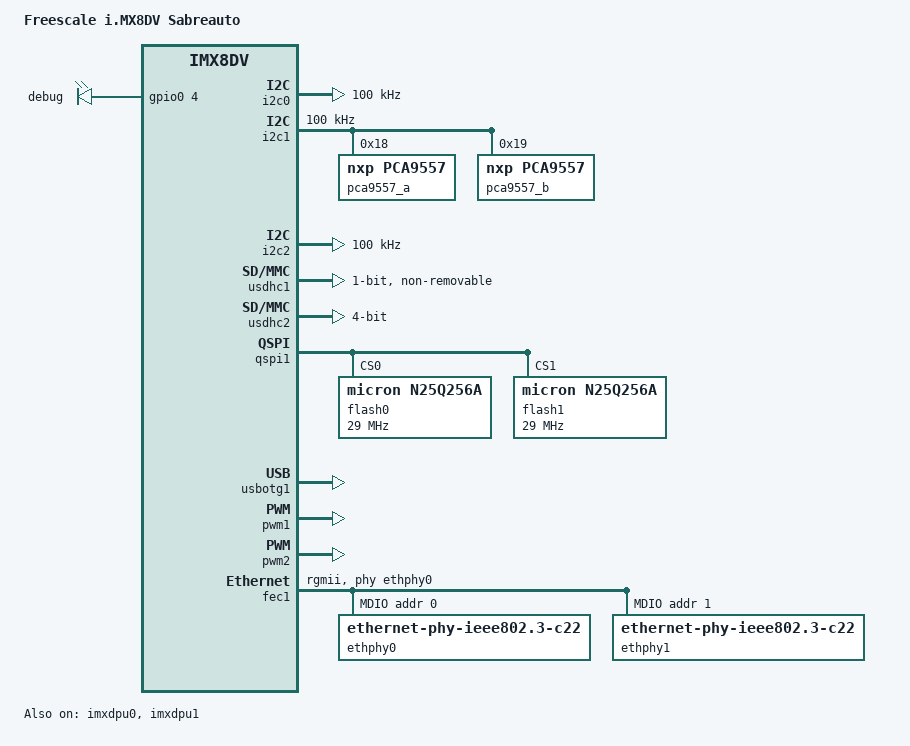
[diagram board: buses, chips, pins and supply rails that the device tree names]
/*
 * Device Tree file for Freescale i.MX8dv sabreauto
 *
 * Copyright (C) 2016, Freescale Semiconductor Inc
 *
 *
 * This file is dual-licensed: you can use it either under the terms
 * of the GPL or the X11 license, at your option. Note that this dual
 * licensing only applies to this file, and not this project as a
 * whole.
 *
 *  a) This library is free software; you can redistribute it and/or
 *     modify it under the terms of the GNU General Public License as
 *     published by the Free Software Foundation; either version 2 of the
 *     License, or (at your option) any later version.
 *
 *     This library is distributed in the hope that it will be useful,
 *     but WITHOUT ANY WARRANTY; without even the implied warranty of
 *     MERCHANTABILITY or FITNESS FOR A PARTICULAR PURPOSE.  See the
 *     GNU General Public License for more details.
 *
 *     You should have received a copy of the GNU General Public
 *     License along with this library; if not, write to the Free
 *     Software Foundation, Inc., 51 Franklin St, Fifth Floor, Boston,
 *     MA 02110-1301 USA
 *
 * Or, alternatively,
 *
 *  b) Permission is hereby granted, free of charge, to any person
 *     obtaining a copy of this software and associated documentation
 *     files (the "Software"), to deal in the Software without
 *     restriction, including without limitation the rights to use,
 *     copy, modify, merge, publish, distribute, sublicense, and/or
 *     sell copies of the Software, and to permit persons to whom the
 *     Software is furnished to do so, subject to the following
 *     conditions:
 *
 *     The above copyright notice and this permission notice shall be
 *     included in all copies or substantial portions of the Software.
 *
 *     THE SOFTWARE IS PROVIDED "AS IS", WITHOUT WARRANTY OF ANY KIND,
 *     EXPRESS OR IMPLIED, INCLUDING BUT NOT LIMITED TO THE WARRANTIES
 *     OF MERCHANTABILITY, FITNESS FOR A PARTICULAR PURPOSE AND
 *     NONINFRINGEMENT. IN NO EVENT SHALL THE AUTHORS OR COPYRIGHT
 *     HOLDERS BE LIABLE FOR ANY CLAIM, DAMAGES OR OTHER LIABILITY,
 *     WHETHER IN AN ACTION OF CONTRACT, TORT OR OTHERWISE, ARISING
 *     FROM, OUT OF OR IN CONNECTION WITH THE SOFTWARE OR THE USE OR
 *     OTHER DEALINGS IN THE SOFTWARE.
 */

/dts-v1/;

/* First 4KB has trampoline code for secondary cores. */
/memreserve/ 0x80000000 0x00010000;

#include "fsl-imx8dv.dtsi"

/ {
	model = "Freescale i.MX8DV Sabreauto";
	compatible = "fsl,imx8dv-sabreauto", "fsl,imx8dv";

	chosen {
		bootargs = "console=ttymxc2,115200 earlycon=imxuart,0x5a080000,115200";
		stdout-path = &uart3;
	};

	leds {
		compatible = "gpio-leds";
		pinctrl-names = "default";
		pinctrl-0 = <&pinctrl_gpio_leds>;
		user {
			label = "debug";
			gpios = <&gpio0 4 0>;
			default-state = "on";
		};
	};
};
&framebuffer0 {
	status = "okay";
};
&framebuffer1 {
	status = "okay";
};
&framebuffer2 {
	status = "okay";
};
&framebuffer3 {
	status = "okay";
};
&imxdpu0 {
	status = "okay";
};
&imxdpu1 {
	status = "okay";
};

&i2c0 {
	pinctrl-names = "default";
	pinctrl-0 = <&pinctrl_i2c0>;
	clock-frequency = <100000>;
	status = "okay";
};

&i2c1 {
	#address-cells = <1>;
	#size-cells = <0>;
	pinctrl-names = "default";
	pinctrl-0 = <&pinctrl_i2c1>;
	clock-frequency = <100000>;
	status = "okay";

	pca9557_a: gpio@18 {
		compatible = "nxp,pca9557";
		reg = <0x18>;
		gpio-controller;
	};

	pca9557_b: gpio@19 {
		compatible = "nxp,pca9557";
		reg = <0x19>;
		gpio-controller;
	};
};

&i2c2 {
	pinctrl-names = "default";
	pinctrl-0 = <&pinctrl_i2c2>;
	clock-frequency = <100000>;
	status = "okay";
};

&iomuxc {
	imx8dv-sabreauto {

		pinctrl_usdhc1: usdhc1grp {
			fsl,pins = <
				SC_P_USDHC0_CLK		0x600004c
				SC_P_USDHC0_CMD		0x600004c
				SC_P_USDHC0_DATA0	0x600004c
				SC_P_USDHC0_DATA1	0x600004c
				SC_P_USDHC0_DATA2	0x600004c
				SC_P_USDHC0_DATA3	0x600004c
				SC_P_USDHC0_DATA4	0x600004c
				SC_P_USDHC0_DATA5	0x600004c
				SC_P_USDHC0_DATA6	0x600004c
				SC_P_USDHC0_DATA7	0x600004c
			>;
		};

		pinctrl_qspi: qspi {
			fsl,pins = <
				SC_P_QSPI0A_DATA0	0x600004c
				SC_P_QSPI0A_DATA1	0x600004c
				SC_P_QSPI0A_DATA2	0x600004c
				SC_P_QSPI0A_DATA3	0x600004c
				SC_P_QSPI0A_DQS		0x600004c
				SC_P_QSPI0A_SCLK	0x600004c
				SC_P_QSPI0A_SS1		0x600004c
				SC_P_QSPI0A_SS0		0x600004c
				SC_P_QSPI0B_DATA0	0x600004c
				SC_P_QSPI0B_DATA1	0x600004c
				SC_P_QSPI0B_DATA2	0x600004c
				SC_P_QSPI0B_DATA3	0x600004c
				SC_P_QSPI0B_DQS		0x600004c
				SC_P_QSPI0B_SCLK	0x600004c
				SC_P_QSPI0B_SS0		0x600004c
			>;
		};

		/*pin flag mux config iso wakeup gp*/
		pinctrl_fec1: fec1grp {
			fsl,pins = <
				SC_P_ENET0_MDC			0x62
				SC_P_ENET0_MDIO			0x62
				SC_P_ENET0_RGMII_TX_CTL		0x62
				SC_P_ENET0_RGMII_TXC		0x62
				SC_P_ENET0_RGMII_TD0		0x62
				SC_P_ENET0_RGMII_TD1		0x62
				SC_P_ENET0_RGMII_TD2		0x62
				SC_P_ENET0_RGMII_TD3		0x62
				SC_P_ENET0_RGMII_RD3		0x00
				SC_P_ENET0_RGMII_RD2		0x00
				SC_P_ENET0_RGMII_RD1		0x00
				SC_P_ENET0_RGMII_RD0		0x00
				SC_P_ENET0_RGMII_RXC		0x00
				SC_P_ENET0_RGMII_RX_CTL		0x00
			>;
		};

		pinctrl_i2c0: i2c0grp {
			fsl,pins = <
				SC_P_LSIO_I2C0_SDA		0x600004c
				SC_P_LSIO_I2C0_SCL		0x600004c
			>;
		};

		pinctrl_i2c1: i2c1grp {
			fsl,pins = <
				SC_P_LSIO_I2C1_SDA		0x600004c
				SC_P_LSIO_I2C1_SCL		0x600004c
			>;
		};

		pinctrl_i2c2: i2c2grp {
			fsl,pins = <
				SC_P_LSIO_I2C2_SDA		0x600004c
				SC_P_LSIO_I2C2_SCL		0x600004c
			>;
		};

		pinctrl_usdhc2: usdhc2grp {
			fsl,pins = <
				SC_P_USDHC1_DATA2	0x600004C
				SC_P_USDHC1_DATA3	0x600004C
				SC_P_USDHC1_CMD		0x600004C
				SC_P_USDHC1_CLK		0x600004C
				SC_P_USDHC1_DATA0	0x600004C
				SC_P_USDHC1_DATA1	0x600004C
				SC_P_USDHC1_CD_B	0x600004C
				SC_P_USDHC1_WP		0x600004C
				SC_P_USDHC1_LCTRL	0x600004C
				SC_P_USDHC1_RESET_B	0x600004C
				SC_P_USDHC1_VSELECT	0x600004C
			>;
		};

		pinctrl_gpio_leds: gpioledsgrp {
			fsl,pins = <
				SC_P_LSIO_GPIO0_04	0x10
			>;
		};
	};
};

&usdhc1 {
	pinctrl-names = "default";
	pinctrl-0 = <&pinctrl_usdhc1>;
	bus-width = <1>;
	non-removable;
	no-1-8-v;
	max-frequency = <25000000>;
	status = "okay";
};

&usdhc2 {
	pinctrl-names = "default";
	pinctrl-0 = <&pinctrl_usdhc2>;
	bus-width = <4>;
	no-1-8-v;
	max-frequency = <25000000>;
	status = "okay";
};

&qspi1 {
	pinctrl-names = "default";
	pinctrl-0 = <&pinctrl_qspi>;
	status = "okay";
	ddrsmp=<0>;

	flash0: n25q256a@0 {
                compatible = "micron,n25q256a";
                spi-max-frequency = <29000000>;
                reg = <0>;
        };

        flash1: n25q256a@1 {
                compatible = "micron,n25q256a";
                spi-max-frequency = <29000000>;
                reg = <1>;
        };
};

&usbotg1 {
	srp-disable;
	hnp-disable;
	adp-disable;
	status = "okay";
};

&pwm1 {
	status = "okay";
};

&pwm2 {
	status = "okay";
};

&fec1 {
    pinctrl-names = "default";
    pinctrl-0 = <&pinctrl_fec1>;
    phy-mode = "rgmii";
    status = "okay";

	phy-handle = <&ethphy0>;
	fsl,magic-packet;
	status = "okay";

	mdio {
		#address-cells = <1>;
		#size-cells = <0>;

		ethphy0: ethernet-phy@0 {
			compatible = "ethernet-phy-ieee802.3-c22";
			reg = <0>;
		};

		ethphy1: ethernet-phy@1 {
			compatible = "ethernet-phy-ieee802.3-c22";
			reg = <1>;
		};
	};
};
